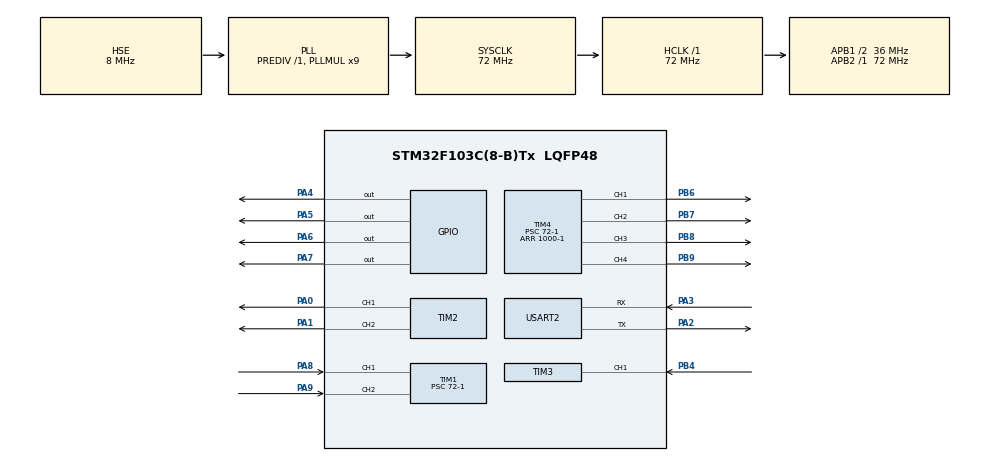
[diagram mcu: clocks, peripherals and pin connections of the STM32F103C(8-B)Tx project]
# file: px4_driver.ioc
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Mcu.Family=STM32F1
Mcu.Name=STM32F103C(8-B)Tx
Mcu.Package=LQFP48
NVIC.PriorityGroup=NVIC_PRIORITYGROUP_4
NVIC.TIM1_BRK_IRQn=true\:0\:0\:false\:false\:true\:true\:true\:true
NVIC.TIM1_CC_IRQn=true\:0\:0\:false\:false\:true\:true\:true\:true
NVIC.TIM1_TRG_COM_IRQn=true\:0\:0\:false\:false\:true\:true\:true\:true
NVIC.TIM1_UP_IRQn=true\:0\:0\:false\:false\:true\:true\:true\:true
NVIC.TIM3_IRQn=true\:0\:0\:false\:false\:true\:true\:true\:true
NVIC.TIM4_IRQn=true\:0\:0\:false\:false\:true\:true\:true\:true
PA0-WKUP.Signal=S_TIM2_CH1_ETR
PA1.Signal=S_TIM2_CH2
PA13.Mode=Serial_Wire
PA13.Signal=SYS_JTMS-SWDIO
PA14.Mode=Serial_Wire
PA14.Signal=SYS_JTCK-SWCLK
PA2.Mode=Asynchronous
PA2.Signal=USART2_TX
PA3.Mode=Asynchronous
PA3.Signal=USART2_RX
PA4.Signal=GPIO_Output
PA5.Signal=GPIO_Output
PA6.Signal=GPIO_Output
PA7.Signal=GPIO_Output
PA8.Signal=S_TIM1_CH1
PA9.Signal=S_TIM1_CH2
PB4.Signal=S_TIM3_CH1
PB6.Signal=S_TIM4_CH1
PB7.Signal=S_TIM4_CH2
PB8.Signal=S_TIM4_CH3
PB9.Signal=S_TIM4_CH4
PC14-OSC32_IN.Mode=LSE-External-Oscillator
PC14-OSC32_IN.Signal=RCC_OSC32_IN
PC15-OSC32_OUT.Mode=LSE-External-Oscillator
PC15-OSC32_OUT.Signal=RCC_OSC32_OUT
PD0-OSC_IN.Mode=HSE-External-Oscillator
PD0-OSC_IN.Signal=RCC_OSC_IN
PD1-OSC_OUT.Mode=HSE-External-Oscillator
PD1-OSC_OUT.Signal=RCC_OSC_OUT
ProjectManager.HeapSize=0x200
ProjectManager.StackSize=0x400
ProjectManager.TargetToolchain=MDK-ARM V5.32
RCC.AHBFreq_Value=72000000
RCC.APB1CLKDivider=RCC_HCLK_DIV2
RCC.APB1Freq_Value=36000000
RCC.APB1TimFreq_Value=72000000
RCC.APB2Freq_Value=72000000
RCC.APB2TimFreq_Value=72000000
RCC.HCLKFreq_Value=72000000
RCC.PLLMUL=RCC_PLL_MUL9
RCC.PLLSourceVirtual=RCC_PLLSOURCE_HSE
RCC.SYSCLKFreq_VALUE=72000000
RCC.SYSCLKSource=RCC_SYSCLKSOURCE_PLLCLK
RCC.USBFreq_Value=72000000
SH.S_TIM1_CH1.0=TIM1_CH1,TriggerSource_TI1FP1
SH.S_TIM1_CH2.0=TIM1_CH2,Input_Capture2_from_TI2
SH.S_TIM2_CH1_ETR.0=TIM2_CH1,PWM Generation1 CH1
SH.S_TIM2_CH2.0=TIM2_CH2,PWM Generation2 CH2
SH.S_TIM3_CH1.0=TIM3_CH1,TriggerSource_TI1FP1
SH.S_TIM3_CH1.1=TIM3_CH1,Input_Capture1_from_TI1
SH.S_TIM4_CH1.0=TIM4_CH1,PWM Generation1 CH1
SH.S_TIM4_CH2.0=TIM4_CH2,PWM Generation2 CH2
SH.S_TIM4_CH3.0=TIM4_CH3,PWM Generation3 CH3
SH.S_TIM4_CH4.0=TIM4_CH4,PWM Generation4 CH4
TIM1.Channel-Input_Capture1_from_TI2_63=TIM_CHANNEL_1
TIM1.Channel-Input_Capture2_from_TI2=TIM_CHANNEL_2
TIM1.ICPolarity_CH1=TIM_INPUTCHANNELPOLARITY_FALLING
TIM1.ICPolarity_CH2=TIM_INPUTCHANNELPOLARITY_RISING
TIM1.Prescaler=72-1
TIM2.Channel-PWM\ Generation1\ CH1=TIM_CHANNEL_1
TIM2.Channel-PWM\ Generation2\ CH2=TIM_CHANNEL_2
TIM3.Channel-Input_Capture1_from_TI1=TIM_CHANNEL_1
TIM3.Channel-Input_Capture2_from_TI1_63=TIM_CHANNEL_2
TIM3.ICPolarity_CH2=TIM_INPUTCHANNELPOLARITY_FALLING
TIM3.Prescaler=72-1
TIM4.AutoReloadPreload=TIM_AUTORELOAD_PRELOAD_ENABLE
TIM4.Channel-PWM\ Generation1\ CH1=TIM_CHANNEL_1
TIM4.Channel-PWM\ Generation2\ CH2=TIM_CHANNEL_2
TIM4.Channel-PWM\ Generation3\ CH3=TIM_CHANNEL_3
TIM4.Channel-PWM\ Generation4\ CH4=TIM_CHANNEL_4
TIM4.Period=1000-1
TIM4.Prescaler=72-1
USART2.VirtualMode=VM_ASYNC
VP_TIM1_VS_ClockSourceINT.Mode=Internal
VP_TIM1_VS_ControllerModeReset.Mode=Reset Mode
VP_TIM1_VS_indirect_ch2.Mode=Input_Capture1_from_TI2_63
VP_TIM3_VS_ClockSourceINT.Mode=Internal
VP_TIM3_VS_ControllerModeReset.Mode=Reset Mode
VP_TIM3_VS_indirect_ch1.Mode=Input_Capture2_from_TI1_63
VP_TIM4_VS_ClockSourceINT.Mode=Internal
board=custom

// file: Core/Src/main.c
/* USER CODE BEGIN Header */
/**
  ******************************************************************************
  * @file           : main.c
  * @brief          : Main program body
  ******************************************************************************
  * @attention
  *
  * Copyright (c) 2024 STMicroelectronics.
  * All rights reserved.
  *
  * This software is licensed under terms that can be found in the LICENSE file
  * in the root directory of this software component.
  * If no LICENSE file comes with this software, it is provided AS-IS.
  *
  ******************************************************************************
  */
/* USER CODE END Header */
#include "main.h"
#include "tim.h"
#include "usart.h"
#include "gpio.h"

/* USER CODE BEGIN Includes */
#include "step_motor.h"
/* USER CODE END Includes */

void SystemClock_Config(void);

/* USER CODE BEGIN 0 */
int motor_id,motor_angle;
volatile int ttt_flag,tttt;
/* USER CODE END 0 */

int main(void)
{

  /* MCU Configuration--------------------------------------------------------*/

  /* Reset of all peripherals, Initializes the Flash interface and the Systick. */
  HAL_Init();

  /* Configure the system clock */
  SystemClock_Config();

  /* Initialize all configured peripherals */
  MX_GPIO_Init();
//  MX_TIM1_Init();
  MX_TIM2_Init();
  MX_TIM4_Init();
  MX_USART2_UART_Init();
  MX_TIM3_Init();
  /* USER CODE BEGIN 2 */
// tttt = 0
//  MX_TIM1_PA8_Init();
tttt =1;
MX_TIM1_PA9_Init();  // comment MX_TIM1_Init

HAL_TIM_IC_Start_IT(&htim1, TIM_CHANNEL_1);
HAL_TIM_IC_Start_IT(&htim1, TIM_CHANNEL_2);

HAL_TIM_IC_Start_IT(&htim3, TIM_CHANNEL_1);
HAL_TIM_IC_Start_IT(&htim3, TIM_CHANNEL_2);

//HAL_TIM_IC_Start_IT(&htim1, TIM_CHANNEL_3);
//HAL_TIM_IC_Start_IT(&htim1, TIM_CHANNEL_4);

HAL_TIM_Base_Start_IT(&htim1);
HAL_TIM_Base_Start_IT(&htim3);

HAL_TIM_PWM_Start_IT(&htim4,TIM_CHANNEL_1);
HAL_TIM_PWM_Start_IT(&htim4,TIM_CHANNEL_2);
HAL_TIM_PWM_Start_IT(&htim4,TIM_CHANNEL_3);
HAL_TIM_PWM_Start_IT(&htim4,TIM_CHANNEL_4);

  /* USER CODE END 2 */

  /* Infinite loop */
  while (1)
  {

    /* USER CODE BEGIN 3 */
//      MoveMotorToAngle(motor_id, motor_angle);

      //      MoveMotorToAngle(motor_id, motor_angle);
//      HAL_Delay(1000);
//      MoveMotorToAngle(motor_id, 0);
//      HAL_Delay(1000);

  }
  /* USER CODE END 3 */
}

void SystemClock_Config(void)
{
  RCC_OscInitTypeDef RCC_OscInitStruct = {0};
  RCC_ClkInitTypeDef RCC_ClkInitStruct = {0};

  /** Initializes the RCC Oscillators according to the specified parameters
  * in the RCC_OscInitTypeDef structure.
  */
  RCC_OscInitStruct.OscillatorType = RCC_OSCILLATORTYPE_HSE;
  RCC_OscInitStruct.HSEState = RCC_HSE_ON;
  RCC_OscInitStruct.HSEPredivValue = RCC_HSE_PREDIV_DIV1;
  RCC_OscInitStruct.HSIState = RCC_HSI_ON;
  RCC_OscInitStruct.PLL.PLLState = RCC_PLL_ON;
  RCC_OscInitStruct.PLL.PLLSource = RCC_PLLSOURCE_HSE;
  RCC_OscInitStruct.PLL.PLLMUL = RCC_PLL_MUL9;
  if (HAL_RCC_OscConfig(&RCC_OscInitStruct) != HAL_OK)
  {
    Error_Handler();
  }

  /** Initializes the CPU, AHB and APB buses clocks
  */
  RCC_ClkInitStruct.ClockType = RCC_CLOCKTYPE_HCLK|RCC_CLOCKTYPE_SYSCLK
                              |RCC_CLOCKTYPE_PCLK1|RCC_CLOCKTYPE_PCLK2;
  RCC_ClkInitStruct.SYSCLKSource = RCC_SYSCLKSOURCE_PLLCLK;
  RCC_ClkInitStruct.AHBCLKDivider = RCC_SYSCLK_DIV1;
  RCC_ClkInitStruct.APB1CLKDivider = RCC_HCLK_DIV2;
  RCC_ClkInitStruct.APB2CLKDivider = RCC_HCLK_DIV1;

  if (HAL_RCC_ClockConfig(&RCC_ClkInitStruct, FLASH_LATENCY_2) != HAL_OK)
  {
    Error_Handler();
  }
}

/* USER CODE BEGIN 4 */

// 1mhz-16hz normal

// 溢出计数器
volatile uint32_t TIM1_OverflowCount = 0;

uint32_t PWM1_T_Count, PWM1_D_Count;
float PWM1_Duty, PWM1_Frequency;

uint32_t PWM2_T_Count, PWM2_D_Count;
float PWM2_Duty, PWM2_Frequency;

void HAL_TIM_IC_CaptureCallback(TIM_HandleTypeDef *htim)
{
    if(htim->Instance == TIM1 & tttt==0)
    {
        if(htim->Channel == HAL_TIM_ACTIVE_CHANNEL_1)
        {
            PWM1_T_Count = HAL_TIM_ReadCapturedValue(htim, TIM_CHANNEL_1) + 1; // 捕获周期
            PWM1_Duty = (float)PWM1_D_Count / PWM1_T_Count; // 计算占空比
            PWM1_Frequency = 1000000.0f / PWM1_T_Count; // 计算频率（假设定时器时钟为1MHz）
        }
        else if(htim->Channel == HAL_TIM_ACTIVE_CHANNEL_2)
        {
            PWM1_D_Count = HAL_TIM_ReadCapturedValue(htim, TIM_CHANNEL_2) + 1; // 捕获高电平时间
        }
    }

    if(htim->Instance == TIM1 && tttt== 1)
    {
        if(htim->Channel == HAL_TIM_ACTIVE_CHANNEL_2)  // 注意这里改为 CHANNEL_2
        {
            PWM1_T_Count = HAL_TIM_ReadCapturedValue(htim, TIM_CHANNEL_2) + 1; // 捕获周期
            PWM1_Duty = (float)PWM1_D_Count / PWM1_T_Count; // 计算占空比
            PWM1_Frequency = 1000000.0f / PWM1_T_Count; // 计算频率（假设定时器时钟为1MHz）
        }
        else if(htim->Channel == HAL_TIM_ACTIVE_CHANNEL_1)
        {
            PWM1_D_Count = HAL_TIM_ReadCapturedValue(htim, TIM_CHANNEL_1) + 1; // 捕获高电平时间
        }
    }

    if(htim->Instance == TIM3)
    {
            if(htim->Channel == HAL_TIM_ACTIVE_CHANNEL_1)
            {
                PWM2_T_Count = HAL_TIM_ReadCapturedValue(htim, TIM_CHANNEL_1) + 1; // 捕获周期
                PWM2_Duty = (float)PWM2_D_Count / PWM2_T_Count; // 计算占空比
                PWM2_Frequency = 1000000.0f / PWM2_T_Count; // 计算频率（假设定时器时钟为1MHz）
            }
            else if(htim->Channel == HAL_TIM_ACTIVE_CHANNEL_2)
            {
                PWM2_D_Count = HAL_TIM_ReadCapturedValue(htim, TIM_CHANNEL_2) + 1; // 捕获高电平时间
            }
    }

}

//void HAL_TIM_PeriodElapsedCallback(TIM_HandleTypeDef *htim)
//{
//    if(htim->Instance == TIM1)
//    {
//        TIM1_OverflowCount++;
//    }
//}

/* USER CODE END 4 */

void Error_Handler(void)
{
  __disable_irq();
  while (1)
  {
  }
}
